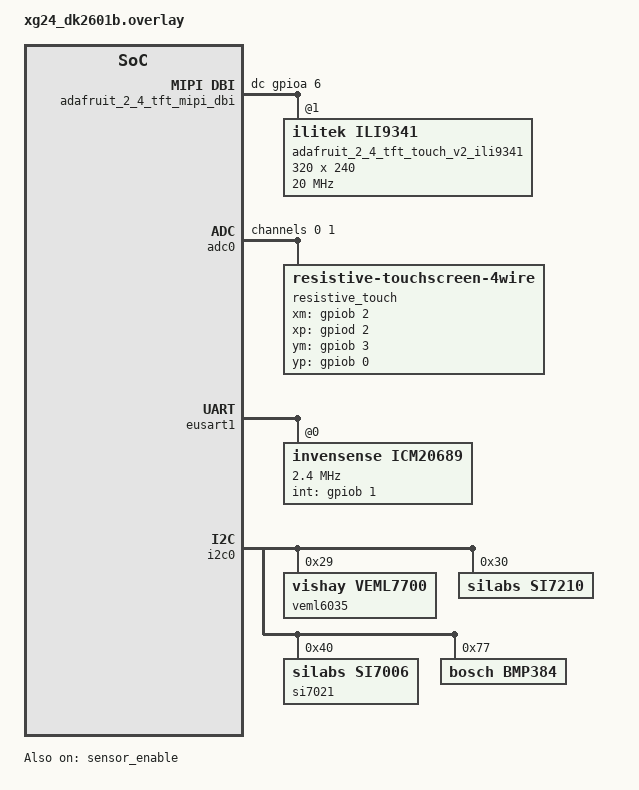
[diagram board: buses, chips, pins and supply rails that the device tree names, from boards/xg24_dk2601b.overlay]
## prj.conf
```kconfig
# CONFIG_NO_OPTIMIZATIONS=y

CONFIG_BT=y
CONFIG_BT_BROADCASTER=y

CONFIG_GPIO=y

CONFIG_CBPRINTF_FP_SUPPORT=y
CONFIG_MAIN_STACK_SIZE=4096

CONFIG_UART_CONSOLE=y
CONFIG_CONSOLE=y
CONFIG_LOG=y
CONFIG_SHELL=y

CONFIG_MBEDTLS=y
CONFIG_MBEDTLS_BUILTIN=y
CONFIG_MBEDTLS_PSA_CRYPTO_C=y
CONFIG_MBEDTLS_CIPHER_AES_ENABLED=y
CONFIG_MBEDTLS_CIPHER_CCM_ENABLED=y
CONFIG_MBEDTLS_CIPHER_GCM_ENABLED=y

CONFIG_SENSOR=y
CONFIG_SPI=y
CONFIG_I2C=y
CONFIG_BMP384=y
CONFIG_ICM20689=y

CONFIG_ADC=y
CONFIG_INPUT=y
# CONFIG_SETTINGS=y
CONFIG_INPUT_RESISTIVE_TOUCHSCREEN_4WIRE=y

CONFIG_DISPLAY=y
CONFIG_ILI9341=y
CONFIG_DISPLAY_LOG_LEVEL_ERR=y

CONFIG_LVGL=y
CONFIG_LV_COLOR_DEPTH_16=n
CONFIG_LV_Z_BITS_PER_PIXEL=16
CONFIG_LV_COLOR_16_SWAP=y
CONFIG_LV_Z_VDB_SIZE=1
CONFIG_LV_Z_DOUBLE_VDB=y
# CONFIG_LV_USE_CUSTOM_MALLOC=y
CONFIG_LV_Z_MEM_POOL_SIZE=65536
# CONFIG_LV_Z_MEM_POOL_SIZE=27904
CONFIG_LV_Z_SHELL=y
# CONFIG_LV_USE_LOG=y
CONFIG_LV_USE_LABEL=y
CONFIG_LV_USE_ARC=y
CONFIG_LV_USE_MONKEY=y
#CONFIG_LV_USE_MONKEY=y
CONFIG_LV_Z_POINTER_INPUT=y
CONFIG_LV_FONT_MONTSERRAT_8=y
CONFIG_LV_FONT_MONTSERRAT_10=y
CONFIG_LV_FONT_MONTSERRAT_12=y
CONFIG_LV_FONT_MONTSERRAT_14=y
CONFIG_LV_FONT_MONTSERRAT_16=y
CONFIG_LV_FONT_MONTSERRAT_18=y
```

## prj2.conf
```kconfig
CONFIG_NO_OPTIMIZATIONS=y

CONFIG_BT=y
CONFIG_BT_PERIPHERAL=y
CONFIG_GPIO=y

CONFIG_CBPRINTF_FP_SUPPORT=n
CONFIG_MAIN_STACK_SIZE=4096

CONFIG_UART_CONSOLE=y
CONFIG_CONSOLE=y
CONFIG_LOG=y
CONFIG_SHELL=y

CONFIG_MBEDTLS=y
CONFIG_MBEDTLS_BUILTIN=y
#CONFIG_MBEDTLS_ENTROPY_ENABLED=y
CONFIG_MBEDTLS_PSA_CRYPTO_C=y
CONFIG_MBEDTLS_CIPHER_AES_ENABLED=y
CONFIG_MBEDTLS_CIPHER_CCM_ENABLED=y
CONFIG_MBEDTLS_CIPHER_GCM_ENABLED=y

CONFIG_SENSOR=y
CONFIG_SPI=y
CONFIG_I2C=y
CONFIG_BMP384=y
CONFIG_ICM20689=y

CONFIG_ADC=y
CONFIG_INPUT=y
CONFIG_INPUT_RESISTIVE_TOUCHSCREEN_4WIRE=y

CONFIG_DISPLAY=y
CONFIG_ILI9341=y

CONFIG_LVGL=y
CONFIG_LV_COLOR_DEPTH_16=n
CONFIG_LV_Z_BITS_PER_PIXEL=16
CONFIG_LV_COLOR_16_SWAP=y
# CONFIG_LV_Z_VDB_SIZE=1
# CONFIG_LV_Z_DOUBLE_VDB=n
# CONFIG_LV_Z_MEM_POOL_SIZE=20480
CONFIG_LV_Z_MEM_POOL_SIZE=16384
CONFIG_LV_Z_SHELL=y
CONFIG_LV_USE_LOG=y
CONFIG_LV_USE_LABEL=y
CONFIG_LV_USE_ARC=y
CONFIG_LV_USE_MONKEY=y
#CONFIG_LV_USE_MONKEY=y
# CONFIG_LV_Z_POINTER_INPUT=y
CONFIG_LV_FONT_MONTSERRAT_8=n
CONFIG_LV_FONT_MONTSERRAT_10=n
CONFIG_LV_FONT_MONTSERRAT_12=n
CONFIG_LV_FONT_MONTSERRAT_14=y
CONFIG_LV_FONT_MONTSERRAT_16=n
CONFIG_LV_FONT_MONTSERRAT_18=n
```

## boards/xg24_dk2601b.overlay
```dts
/*
 * Copyright (c) 2025 Silicon Laboratories Inc. www.silabs.com
 *
 * SPDX-License-Identifier: Apache-2.0
 */

#include <dt-bindings/clock/silabs/xg24-clock.h>
#include <dt-bindings/adc/silabs-adc.h>
#include <zephyr/dt-bindings/pinctrl/gecko-pinctrl.h>
#include <zephyr/dt-bindings/input/input-resistive-touchscreen-4wire.h>
#include <zephyr/dt-bindings/display/ili9xxx.h>

/ {
	chosen {
		zephyr,display = &adafruit_2_4_tft_touch_v2_ili9341;
		sw0 = &button0;
		// /delete-property/ zephyr,console;
        // /delete-property/ zephyr,shell-uart;
	};
	
	aliases {
		touchscreen = &resistive_touch;
	};
 
	adafruit_2_4_tft_mipi_dbi {
		compatible = "zephyr,mipi-dbi-spi";
		spi-dev = <&eusart1>;
		#address-cells = <1>;
		#size-cells = <0>;
		status = "okay";
		dc-gpios = <&gpioa 6 GPIO_ACTIVE_HIGH>;
		write-only;
		adafruit_2_4_tft_touch_v2_ili9341: ili9341@1 {
			compatible = "ilitek,ili9341";
			mipi-max-frequency = <20000000>;
			reg = <1>;
			height = <240>;
			width = <320>;
			pixel-format = <ILI9XXX_PIXEL_FORMAT_RGB565>;
			// display-inversion;
			rotation = <90>;
			// mipi-hold-cs;
			pwctrla = [39 2C 00 34 02];
			pwctrlb = [00 C1 30];
			pwseqctrl = [64 03 12 81];
			timctrla = [85 00 78];
			timctrlb = [00 00];
			pumpratioctrl = [20];
			pwctrl1 = [23];
			pwctrl2 = [10];
			gamset = [01];
			frmctr1 = [00 18];
			disctrl = [08 82 27 04];
			vmctrl1 = [3e 28];
			vmctrl2 = [86];
			pgamctrl = [0f 31 2b 0c 0e 08 4e f1 37 07 10 03 0e 09 00];
			ngamctrl = [00 0e 14 03 11 07 31 c1 48 08 0f 0c 31 36 0f];
			status = "okay";
		};
	};

	lvgl_pointer {
		compatible = "zephyr,lvgl-pointer-input";
		input = <&resistive_touch>;
		// swap-xy;
		// invert-x;
		// invert-y;
	};
};

&adc0 {
	pinctrl-0 = <&adc0_default>;
	pinctrl-names = "default";
	status = "okay";
	#address-cells = <1>;
	#size-cells = <0>;

	channel@0 {
		reg = <0>;
		zephyr,gain = "ADC_GAIN_1";
		zephyr,reference = "ADC_REF_VDD_1";
		zephyr,vref-mv = <3300>;
		zephyr,acquisition-time = <ADC_ACQ_TIME_DEFAULT>;
		zephyr,resolution = <12>;
		zephyr,input-positive = <IADC_INPUT_PB2>; // XM = PB2
	};

	channel@1 {
		reg = <1>;
		zephyr,gain = "ADC_GAIN_1";
		zephyr,reference = "ADC_REF_VDD_1";
		zephyr,vref-mv = <3300>;
		zephyr,acquisition-time = <ADC_ACQ_TIME_DEFAULT>;
		zephyr,resolution = <12>;
		zephyr,input-positive = <IADC_INPUT_PB0>; // YP = PB0
	};

	resistive_touch: resistive_touch {
		compatible = "resistive-touchscreen-4wire";
		poll-period-ms = <15>;
		h-res = <240>;
		v-res = <320>;
		x-min = <355>;
		x-max = <3422>;
		y-min = <301>;
		y-max = <3335>;
		r-xplate = <200>;
		r-touch-threshold = "600.0";
		xm-gpios = <&gpiob 2 GPIO_ACTIVE_HIGH>;
		xp-gpios = <&gpiod 2 GPIO_ACTIVE_HIGH>;
		ym-gpios = <&gpiob 3 GPIO_ACTIVE_HIGH>;
		yp-gpios = <&gpiob 0 GPIO_ACTIVE_HIGH>;
		XM {
			io-channels = <&adc0 0>;
			zephyr,wire = <INPUT_4WIRE_TS_XM>;
		};

		YP {
			io-channels = <&adc0 1>;
			zephyr,wire = <INPUT_4WIRE_TS_YP>;
		};
	};
};

&eusart1 {
	status = "okay";
	clock-frequency = <18000000>;
	cs-gpios = <&gpioa 7 GPIO_ACTIVE_LOW>, <&gpioa 5 GPIO_ACTIVE_LOW>;

	icm20689@1 {
		compatible = "invensense,icm20689";
		spi-max-frequency = <2400000>;
		reg = <0>;
		int-gpios = <&gpiob 1 GPIO_ACTIVE_HIGH>;
		accel-bw = <1046>;
		accel-fs = <2>;
		gyro-bw = <41>;
		gyro-fs = <250>;
		status = "okay";
	};
  
};

&pinctrl {
	usart0_default: usart0_default {
		group0 {
			pins = <USART0_TX_PD4>;
			drive-push-pull;
			output-high;
		};

		group1 {
			pins = <USART0_RX_PD5>;
			input-enable;
			silabs,input-filter;
		};
	};
	adc0_default: adc0_default {
		group0 {
			/* Allocate odd bus 0 on GPIO port B to IADC for access to pin PB1 */
			silabs,analog-bus = <ABUS_BEVEN0_IADC0>;
		};
	};
};

&i2c0 {
	status = "okay";

	veml6035: veml6035@29 {
		compatible = "vishay,veml7700";
		reg = <0x29>;
		status = "okay";
	};

	si7210: si7210@30 {
		compatible = "silabs,si7210";
		reg = <0x30>;
		status = "okay";
	};

	si7021: si7021@40 {
		compatible = "silabs,si7006";
		reg = <0x40>;
		status = "okay";
	};
	bmp384: bmp384@77 {
		compatible = "bosch,bmp384";
		reg = <0x77>;
		status = "okay";
	};
};

&sensor_enable {
	startup-delay-us = <100000>;
	status = "okay";
};
```

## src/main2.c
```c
/*
 * Copyright (c) 2018 Jan Van Winkel <jan.van_winkel@dxplore.eu>
 *
 * SPDX-License-Identifier: Apache-2.0
 */

#include <zephyr/device.h>
#include <zephyr/devicetree.h>
#include <zephyr/drivers/display.h>
#include <zephyr/drivers/gpio.h>
#include <lvgl.h>
#include <stdio.h>
#include <string.h>
#include <zephyr/kernel.h>
#include <lvgl_input_device.h>

#define LOG_LEVEL CONFIG_LOG_DEFAULT_LEVEL
#include <zephyr/logging/log.h>
LOG_MODULE_REGISTER(app);

static uint32_t count;

#ifdef CONFIG_RESET_COUNTER_SW0
static struct gpio_dt_spec button_gpio = GPIO_DT_SPEC_GET_OR(
  DT_ALIAS(sw0), gpios, { 0 });
static struct gpio_callback button_callback;

static void button_isr_callback(const struct device *port,
                                struct gpio_callback *cb,
                                uint32_t pins)
{
  ARG_UNUSED(port);
  ARG_UNUSED(cb);
  ARG_UNUSED(pins);

  count = 0;
}

#endif /* CONFIG_RESET_COUNTER_SW0 */

#ifdef CONFIG_LV_Z_ENCODER_INPUT
static const struct device *lvgl_encoder =
  DEVICE_DT_GET(DT_COMPAT_GET_ANY_STATUS_OKAY(zephyr_lvgl_encoder_input));
#endif /* CONFIG_LV_Z_ENCODER_INPUT */

#ifdef CONFIG_LV_Z_KEYPAD_INPUT
static const struct device *lvgl_keypad =
  DEVICE_DT_GET(DT_COMPAT_GET_ANY_STATUS_OKAY(zephyr_lvgl_keypad_input));
#endif /* CONFIG_LV_Z_KEYPAD_INPUT */

static void lv_btn_click_callback(lv_event_t *e)
{
  ARG_UNUSED(e);

  count = 0;
}

int main(void)
{
  char count_str[11] = { 0 };
  const struct device *display_dev;
  lv_obj_t *hello_world_label;
  lv_obj_t *count_label;

  display_dev = DEVICE_DT_GET(DT_CHOSEN(zephyr_display));
  if (!device_is_ready(display_dev)) {
    LOG_ERR("Device not ready, aborting test");
    return 0;
  }

#ifdef CONFIG_RESET_COUNTER_SW0
  if (gpio_is_ready_dt(&button_gpio)) {
    int err;

    err = gpio_pin_configure_dt(&button_gpio, GPIO_INPUT);
    if (err) {
      LOG_ERR("failed to configure button gpio: %d", err);
      return 0;
    }

    gpio_init_callback(&button_callback, button_isr_callback,
                       BIT(button_gpio.pin));

    err = gpio_add_callback(button_gpio.port, &button_callback);
    if (err) {
      LOG_ERR("failed to add button callback: %d", err);
      return 0;
    }

    err = gpio_pin_interrupt_configure_dt(&button_gpio,
                                          GPIO_INT_EDGE_TO_ACTIVE);
    if (err) {
      LOG_ERR("failed to enable button callback: %d", err);
      return 0;
    }
  }
#endif /* CONFIG_RESET_COUNTER_SW0 */

#ifdef CONFIG_LV_Z_ENCODER_INPUT
  lv_obj_t *arc;
  lv_group_t *arc_group;

  arc = lv_arc_create(lv_screen_active());
  lv_obj_align(arc, LV_ALIGN_CENTER, 0, -15);
  lv_obj_set_size(arc, 150, 150);

  arc_group = lv_group_create();
  lv_group_add_obj(arc_group, arc);
  lv_indev_set_group(lvgl_input_get_indev(lvgl_encoder), arc_group);
#endif /* CONFIG_LV_Z_ENCODER_INPUT */

#ifdef CONFIG_LV_Z_KEYPAD_INPUT
  lv_obj_t *btn_matrix;
  lv_group_t *btn_matrix_group;
  static const char *const btnm_map[] = { "1", "2", "3", "4", "" };

  btn_matrix = lv_buttonmatrix_create(lv_screen_active());
  lv_obj_align(btn_matrix, LV_ALIGN_CENTER, 0, 70);
  lv_buttonmatrix_set_map(btn_matrix, (const char **)btnm_map);
  lv_obj_set_size(btn_matrix, 100, 50);

  btn_matrix_group = lv_group_create();
  lv_group_add_obj(btn_matrix_group, btn_matrix);
  lv_indev_set_group(lvgl_input_get_indev(lvgl_keypad), btn_matrix_group);
#endif /* CONFIG_LV_Z_KEYPAD_INPUT */

  if (IS_ENABLED(CONFIG_LV_Z_POINTER_INPUT)) {
    lv_obj_t *hello_world_button;

    hello_world_button = lv_button_create(lv_screen_active());
    lv_obj_align(hello_world_button, LV_ALIGN_CENTER, 0, -15);
    lv_obj_add_event_cb(hello_world_button,
                        lv_btn_click_callback,
                        LV_EVENT_CLICKED,
                        NULL);
    hello_world_label = lv_label_create(hello_world_button);
  } else {
    hello_world_label = lv_label_create(lv_screen_active());
  }

  lv_label_set_text(hello_world_label, "Hello world!");
  lv_obj_align(hello_world_label, LV_ALIGN_CENTER, 0, 0);

  count_label = lv_label_create(lv_screen_active());
  lv_obj_align(count_label, LV_ALIGN_BOTTOM_MID, 0, 0);

  lv_timer_handler();
  display_blanking_off(display_dev);

  while (1) {
    if ((count % 100) == 0U) {
      sprintf(count_str, "%d", count / 100U);
      lv_label_set_text(count_label, count_str);
    }
    lv_timer_handler();
    ++count;
    k_sleep(K_MSEC(10));
  }
}
```
